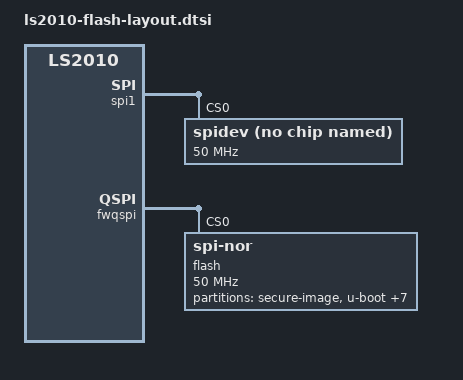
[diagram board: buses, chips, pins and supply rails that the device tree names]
// SPDX-License-Identifier: (GPL-2.0 OR MIT)
/* Copyright (c) 2026 Linkedsemi */
/* LS2010 unified SPI-NOR flash controller nodes + partition table — shared
 * by U-Boot and Kernel, and identical for both machines (ls2010-default /
 * ls2010-default-protium).  Final user-approved 9-partition design layout
 * (128 MiB): secure-image placeholder at 0 (E906 secure core firmware,
 * design G1, delivery pending), u-boot (OpenSBI fw_payload) at 256 KiB,
 * u-boot-env at 2944 KiB, kernel at 3072 KiB, A/B rootfs/kernel backups,
 * pfm at 130048 KiB.  The u-boot-env partition at 2944 KiB matches the
 * vendor lsbmc_evk_defconfig CONFIG_ENV_OFFSET=0x2E0000, so no fragment
 * override is needed.  Must stay in sync with FLASH_* offsets in
 * conf/machine/*.conf and fw_env_ls2010_nor.config.  No /dts-v1/ header
 * here — it must appear only in the top-level .dts.
 */

&spi1 {
	spidev@0 {
		compatible = "rohm,dh2228fv";
		reg = <0>;
		spi-max-frequency = <50000000>;
	};
};

&fwqspi {
	flash@0 {
		compatible = "jedec,spi-nor";
		reg = <0>;
		spi-max-frequency = <50000000>;
		spi-tx-bus-width = <1>;
		spi-rx-bus-width = <1>;

		partitions {
			compatible = "fixed-partitions";
			#address-cells = <1>;
			#size-cells = <1>;

			/* secure-image: 0x0 ~ 0x40000 (0 ~ 256 KiB, 0xFF placeholder) */
			partition@0 {
				label = "secure-image";
				reg = <0x0 0x40000>;
			};
			/* u-boot: 0x40000 ~ 0x2E0000 (256 ~ 2944 KiB, OpenSBI
			 * fw_payload, budget = FLASH_UBOOT_ENV_OFFSET 2944
			 * - FLASH_SECURE_IMAGE_SIZE 256 = 2688 KiB) */
			partition@40000 {
				label = "u-boot";
				reg = <0x40000 0x2A0000>;
			};
			/* u-boot-env: 0x2E0000 ~ 0x300000 (2944 ~ 3072 KiB,
			 * CONFIG_ENV_OFFSET = 0x2E0000, vendor defconfig default) */
			partition@2E0000 {
				label = "u-boot-env";
				reg = <0x2E0000 0x20000>;
			};
			/* kernel: 0x300000 ~ 0xD00000 (3072 ~ 13312 KiB, 10 MiB FIT) */
			partition@300000 {
				label = "kernel";
				reg = <0x300000 0xA00000>;
			};
			/* rofs: 0xD00000 ~ 0x3A00000 (13312 ~ 59392 KiB, 45 MiB) */
			partition@D00000 {
				label = "rofs";
				reg = <0xD00000 0x2D00000>;
			};
			/* rwfs: 0x3A00000 ~ 0x4800000 (59392 ~ 73728 KiB, 14 MiB,
			 * RWFS_SIZE = 14680064 bytes) */
			partition@3A00000 {
				label = "rwfs";
				reg = <0x3A00000 0xE00000>;
			};
			/* bak-rofs: 0x4800000 ~ 0x7500000 (73728 ~ 119808 KiB, 45 MiB) */
			partition@4800000 {
				label = "bak-rofs";
				reg = <0x4800000 0x2D00000>;
			};
			/* bak-kernel: 0x7500000 ~ 0x7F00000 (119808 ~ 130048 KiB,
			 * 10 MiB FIT backup) */
			partition@7500000 {
				label = "bak-kernel";
				reg = <0x7500000 0xA00000>;
			};
			/* pfm: 0x7F00000 ~ 0x8000000 (130048 ~ 131072 KiB, 1 MiB) */
			partition@7F00000 {
				label = "pfm";
				reg = <0x7F00000 0x100000>;
			};
		};
	};
};
